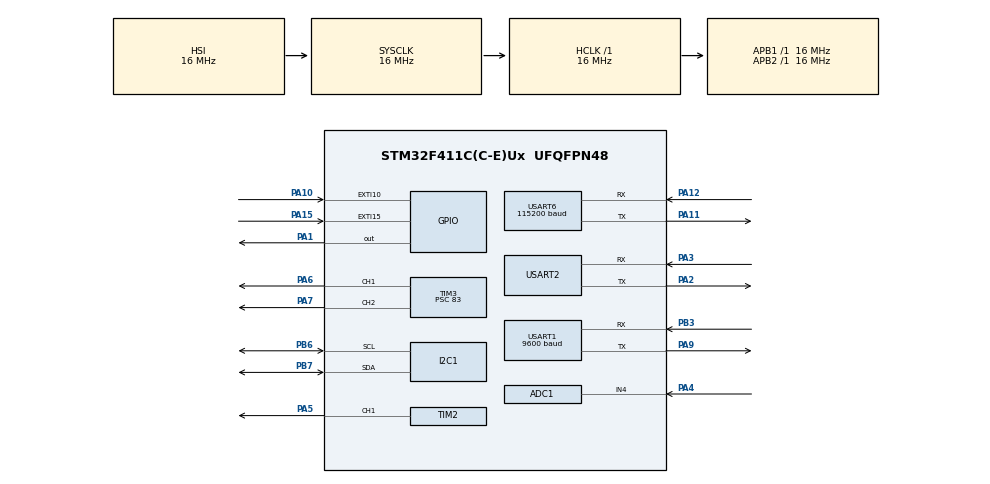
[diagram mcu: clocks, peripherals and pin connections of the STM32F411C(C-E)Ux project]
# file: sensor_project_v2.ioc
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ADC1.Channel-0\#ChannelRegularConversion=ADC_CHANNEL_4
ADC1.NbrOfConversionFlag=1
ADC1.Rank-0\#ChannelRegularConversion=1
ADC1.SamplingTime-0\#ChannelRegularConversion=ADC_SAMPLETIME_3CYCLES
ADC1.master=1
FREERTOS.BinarySemaphores01=buttonSem,Dynamic,NULL,Available
FREERTOS.Tasks01=SensorTask,2,512,StartSensorTask,Default,NULL,Dynamic,NULL,NULL;ButtonTask,1,256,StartButtonTask,Default,NULL,Dynamic,NULL,NULL;GpsTask,0,512,StartGpsTask,Default,NULL,Dynamic,NULL,NULL;CommTask,-1,1024,StartCommTask,Default,NULL,Dynamic,NULL,NULL
FREERTOS.configUSE_NEWLIB_REENTRANT=1
Mcu.Family=STM32F4
Mcu.Name=STM32F411C(C-E)Ux
Mcu.Package=UFQFPN48
NVIC.ADC_IRQn=true\:5\:0\:true\:false\:true\:true\:true\:true\:true
NVIC.EXTI15_10_IRQn=true\:5\:0\:true\:false\:true\:true\:true\:true\:true
NVIC.I2C1_ER_IRQn=true\:5\:0\:true\:false\:true\:true\:true\:true\:true
NVIC.I2C1_EV_IRQn=true\:5\:0\:true\:false\:true\:true\:true\:true\:true
NVIC.PriorityGroup=NVIC_PRIORITYGROUP_4
NVIC.TIM1_UP_TIM10_IRQn=true\:15\:0\:false\:false\:true\:false\:false\:true\:true
NVIC.TIM2_IRQn=true\:5\:0\:true\:false\:true\:true\:true\:true\:true
NVIC.TIM3_IRQn=true\:5\:0\:true\:false\:true\:true\:true\:true\:true
NVIC.TimeBase=TIM1_UP_TIM10_IRQn
NVIC.TimeBaseIP=TIM10
NVIC.USART1_IRQn=true\:5\:0\:true\:false\:true\:true\:true\:true\:true
NVIC.USART2_IRQn=true\:5\:0\:true\:false\:true\:true\:true\:true\:true
NVIC.USART6_IRQn=true\:5\:0\:false\:false\:true\:true\:true\:true\:true
PA1.Signal=GPIO_Output
PA10.Signal=GPXTI10
PA11.Mode=Asynchronous
PA11.Signal=USART6_TX
PA12.Mode=Asynchronous
PA12.Signal=USART6_RX
PA15.GPIO_ModeDefaultEXTI=GPIO_MODE_IT_FALLING
PA15.GPIO_PuPd=GPIO_PULLUP
PA15.Signal=GPXTI15
PA2.Mode=Asynchronous
PA2.Signal=USART2_TX
PA3.Mode=Asynchronous
PA3.Signal=USART2_RX
PA4.Signal=ADCx_IN4
PA5.Signal=S_TIM2_CH1_ETR
PA6.Signal=S_TIM3_CH1
PA7.Signal=S_TIM3_CH2
PA9.Mode=Asynchronous
PA9.Signal=USART1_TX
PB3.Mode=Asynchronous
PB3.Signal=USART1_RX
PB6.Mode=I2C
PB6.Signal=I2C1_SCL
PB7.Mode=I2C
PB7.Signal=I2C1_SDA
ProjectManager.HeapSize=0x200
ProjectManager.StackSize=0x400
ProjectManager.TargetToolchain=STM32CubeIDE
RCC.AHBFreq_Value=16000000
RCC.APB1Freq_Value=16000000
RCC.APB2Freq_Value=16000000
RCC.CortexFreq_Value=16000000
RCC.HSE_VALUE=25000000
RCC.HSI_VALUE=16000000
RCC.LSE_VALUE=32768
RCC.SYSCLKFreq_VALUE=16000000
RCC.VCOOutputFreq_Value=192000000
SH.ADCx_IN4.0=ADC1_IN4,IN4
SH.S_TIM2_CH1_ETR.0=TIM2_CH1,PWM Generation1 CH1
SH.S_TIM3_CH1.0=TIM3_CH1,PWM Generation1 CH1
SH.S_TIM3_CH2.0=TIM3_CH2,PWM Generation2 CH2
TIM2.Channel-PWM\ Generation1\ CH1=TIM_CHANNEL_1
TIM2.Period=999
TIM2.Prescaler=83
TIM3.Channel-PWM\ Generation1\ CH1=TIM_CHANNEL_1
TIM3.Channel-PWM\ Generation2\ CH2=TIM_CHANNEL_2
TIM3.Period=999
TIM3.Prescaler=83
USART1.BaudRate=9600
USART1.VirtualMode=VM_ASYNC
USART2.VirtualMode=VM_ASYNC
USART6.BaudRate=115200
USART6.VirtualMode=VM_ASYNC
VP_FREERTOS_VS_CMSIS_V1.Mode=CMSIS_V1
VP_SYS_VS_tim10.Mode=TIM10
board=custom

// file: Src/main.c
/* USER CODE BEGIN Header */
/**
  ******************************************************************************
  * @file           : main.c
  * @brief          : Main program body
  ******************************************************************************
  * @attention
  *
  * Copyright (c) 2025 STMicroelectronics.
  * All rights reserved.
  *
  * This software is licensed under terms that can be found in the LICENSE file
  * in the root directory of this software component.
  * If no LICENSE file comes with this software, it is provided AS-IS.
  *
  ******************************************************************************
  */
/* USER CODE END Header */
#include "main.h"
#include "cmsis_os.h"
#include "adc.h"
#include "i2c.h"
#include "tim.h"
#include "usart.h"
#include "gpio.h"

/* USER CODE BEGIN Includes */
#include <stdio.h>
#include "freertos.h"
#include "mpu6050.h"
#include "dht22.h"
#include "mq135.h"
/* USER CODE END Includes */

/* USER CODE BEGIN PV */
extern osSemaphoreId buttonSemHandle;
/* USER CODE END PV */

void SystemClock_Config(void);
void MX_FREERTOS_Init(void);

int main(void)
{

  /* MCU Configuration--------------------------------------------------------*/

  /* Reset of all peripherals, Initializes the Flash interface and the Systick. */
  HAL_Init();

  /* Configure the system clock */
  SystemClock_Config();

  /* Initialize all configured peripherals */
  MX_GPIO_Init();
  MX_ADC1_Init();
  MX_USART2_UART_Init();
  MX_I2C1_Init();
  MX_TIM2_Init();
  MX_TIM3_Init();
  MX_USART1_UART_Init();
  MX_USART6_UART_Init();

  /* Call init function for freertos objects (in cmsis_os2.c) */
  MX_FREERTOS_Init();

  /* Start scheduler */
  osKernelStart();

  /* We should never get here as control is now taken by the scheduler */

  /* Infinite loop */
  while (1)
  {

  }
}

void SystemClock_Config(void)
{
  RCC_OscInitTypeDef RCC_OscInitStruct = {0};
  RCC_ClkInitTypeDef RCC_ClkInitStruct = {0};

  /** Configure the main internal regulator output voltage
  */
  __HAL_RCC_PWR_CLK_ENABLE();
  __HAL_PWR_VOLTAGESCALING_CONFIG(PWR_REGULATOR_VOLTAGE_SCALE1);

  /** Initializes the RCC Oscillators according to the specified parameters
  * in the RCC_OscInitTypeDef structure.
  */
  RCC_OscInitStruct.OscillatorType = RCC_OSCILLATORTYPE_HSI;
  RCC_OscInitStruct.HSIState = RCC_HSI_ON;
  RCC_OscInitStruct.HSICalibrationValue = RCC_HSICALIBRATION_DEFAULT;
  RCC_OscInitStruct.PLL.PLLState = RCC_PLL_NONE;
  if (HAL_RCC_OscConfig(&RCC_OscInitStruct) != HAL_OK)
  {
    Error_Handler();
  }

  /** Initializes the CPU, AHB and APB buses clocks
  */
  RCC_ClkInitStruct.ClockType = RCC_CLOCKTYPE_HCLK|RCC_CLOCKTYPE_SYSCLK
                              |RCC_CLOCKTYPE_PCLK1|RCC_CLOCKTYPE_PCLK2;
  RCC_ClkInitStruct.SYSCLKSource = RCC_SYSCLKSOURCE_HSI;
  RCC_ClkInitStruct.AHBCLKDivider = RCC_SYSCLK_DIV1;
  RCC_ClkInitStruct.APB1CLKDivider = RCC_HCLK_DIV1;
  RCC_ClkInitStruct.APB2CLKDivider = RCC_HCLK_DIV1;

  if (HAL_RCC_ClockConfig(&RCC_ClkInitStruct, FLASH_LATENCY_0) != HAL_OK)
  {
    Error_Handler();
  }
}

/* USER CODE BEGIN 4 */
void HAL_GPIO_EXTI_Callback(uint16_t GPIO_Pin)
{
	static uint32_t last_tick = 0;

    if (GPIO_Pin == GPIO_PIN_10) { // MPU6050 INT 핀 연결된 GPIO
        mpu6050_interrupt_flag = 1;
    }

    if (GPIO_Pin == GPIO_PIN_15) { // 버튼 누름
    	if (HAL_GetTick() - last_tick > 200) {  // 200ms 이내엔 무시 -> 디바운싱 구현
    		last_tick = HAL_GetTick();
    		osSemaphoreRelease(buttonSemHandle); // 버튼 세마포어 전달
    	}
    }
}

// UART -> Terminal 출력 확인을 위한 __write 오버라이드(재정의)
int _write(int file, char *ptr, int len)
{
    HAL_UART_Transmit(&huart2, (uint8_t*)ptr, len, HAL_MAX_DELAY);
    return len;
}
/* USER CODE END 4 */

void HAL_TIM_PeriodElapsedCallback(TIM_HandleTypeDef *htim)
{
  if (htim->Instance == TIM10) {
    HAL_IncTick();
  }
}

void Error_Handler(void)
{
  __disable_irq();
  while (1)
  {
  }
}

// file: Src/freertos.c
/* USER CODE BEGIN Header */
/**
  ******************************************************************************
  * File Name          : freertos.c
  * Description        : Code for freertos applications
  ******************************************************************************
  * @attention
  *
  * Copyright (c) 2025 STMicroelectronics.
  * All rights reserved.
  *
  * This software is licensed under terms that can be found in the LICENSE file
  * in the root directory of this software component.
  * If no LICENSE file comes with this software, it is provided AS-IS.
  *
  ******************************************************************************
  */
/* USER CODE END Header */

#include "FreeRTOS.h"
#include "task.h"
#include "main.h"
#include "cmsis_os.h"

/* USER CODE BEGIN Includes */
#include <stdio.h>
#include "mpu6050.h"
#include "dht22.h"
#include "mq135.h"
#include "button_task.h"
#include "gps_task.h"
#include "sensor_data.h"
/* USER CODE END Includes */

/* USER CODE BEGIN Variables */
extern I2C_HandleTypeDef hi2c1;
QueueHandle_t sensorDataQueue;
/* USER CODE END Variables */
osThreadId SensorTaskHandle;
osThreadId ButtonTaskHandle;
osThreadId GpsTaskHandle;
osThreadId CommTaskHandle;
osSemaphoreId buttonSemHandle;

extern void StartSensorTask(void const * argument);
extern void StartButtonTask(void const * argument);
extern void StartGpsTask(void const * argument);
extern void StartCommTask(void const * argument);

void MX_FREERTOS_Init(void); /* (MISRA C 2004 rule 8.1) */

/* GetIdleTaskMemory prototype (linked to static allocation support) */
void vApplicationGetIdleTaskMemory( StaticTask_t **ppxIdleTaskTCBBuffer, StackType_t **ppxIdleTaskStackBuffer, uint32_t *pulIdleTaskStackSize );

/* USER CODE BEGIN GET_IDLE_TASK_MEMORY */
static StaticTask_t xIdleTaskTCBBuffer;
static StackType_t xIdleStack[configMINIMAL_STACK_SIZE];

void vApplicationGetIdleTaskMemory( StaticTask_t **ppxIdleTaskTCBBuffer, StackType_t **ppxIdleTaskStackBuffer, uint32_t *pulIdleTaskStackSize )
{
  *ppxIdleTaskTCBBuffer = &xIdleTaskTCBBuffer;
  *ppxIdleTaskStackBuffer = &xIdleStack[0];
  *pulIdleTaskStackSize = configMINIMAL_STACK_SIZE;
  /* place for user code */
}
/* USER CODE END GET_IDLE_TASK_MEMORY */

void MX_FREERTOS_Init(void) {

  /* Create the semaphores(s) */
  /* definition and creation of buttonSem */
  osSemaphoreDef(buttonSem);
  buttonSemHandle = osSemaphoreCreate(osSemaphore(buttonSem), 1);

  /* USER CODE BEGIN RTOS_QUEUES */
  /* add queues, ... */
  sensorDataQueue = xQueueCreate(10, sizeof(SensorData_t));
  if (sensorDataQueue == NULL) {
  }
  /* USER CODE END RTOS_QUEUES */

  /* Create the thread(s) */
  /* definition and creation of SensorTask */
  osThreadDef(SensorTask, StartSensorTask, osPriorityHigh, 0, 512);
  SensorTaskHandle = osThreadCreate(osThread(SensorTask), NULL);

  /* definition and creation of ButtonTask */
  osThreadDef(ButtonTask, StartButtonTask, osPriorityAboveNormal, 0, 256);
  ButtonTaskHandle = osThreadCreate(osThread(ButtonTask), NULL);

  /* definition and creation of GpsTask */
  osThreadDef(GpsTask, StartGpsTask, osPriorityNormal, 0, 512);
  GpsTaskHandle = osThreadCreate(osThread(GpsTask), NULL);

  /* definition and creation of CommTask */
  osThreadDef(CommTask, StartCommTask, osPriorityBelowNormal, 0, 1024);
  CommTaskHandle = osThreadCreate(osThread(CommTask), NULL);

}
